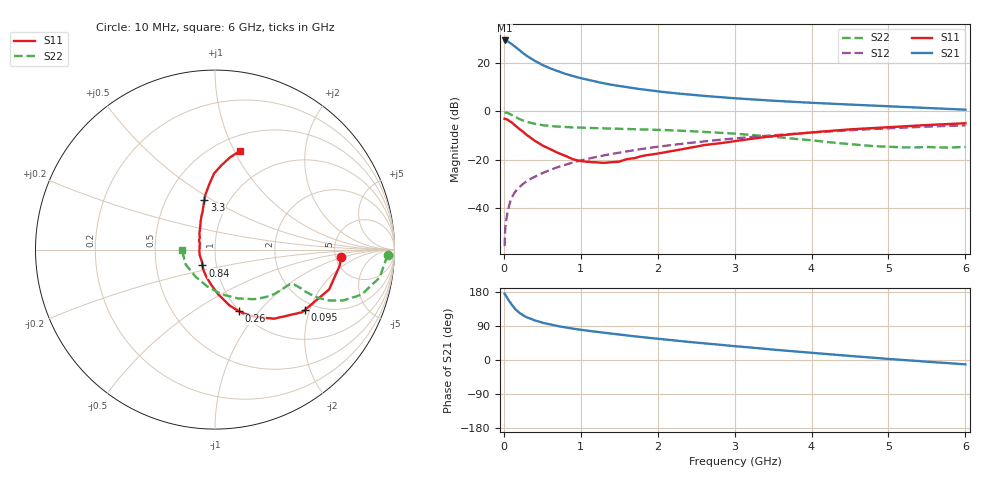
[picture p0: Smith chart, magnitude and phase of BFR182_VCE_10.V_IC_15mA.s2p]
! Infineon Technologies  Discrete & RF Semiconductors
! BFR182
! VCE =  10. V,  IC =  15 mA
! Common Emitter S-Parameters:  Nov 2015
# GHz  S  MA  R  50
!  f  S11  S21  S12  S22
! GHz  MAG  ANG  MAG  ANG  MAG  ANG  MAG  ANG
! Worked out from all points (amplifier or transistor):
!   210 points, 10 MHz to 6 GHz, reference 50 ohm
!   highest |S21| = 29.5 dB at 10 MHz (marker M1)
!   |S21| within 3 dB of that: start of sweep to 162.9 MHz
!   unconditionally stable (mu >= 1): 745.4 MHz to 2.806 GHz
!   at 185 MHz: K = 0.60, MSG = 28.9 dB, |S12| = -32.0 dB
!   at 1.52 GHz: K = 1.04, MAG = 12.4 dB, |S12| = -17.0 dB
!   at 6 GHz: K = 0.90, MSG = 3.3 dB, |S12| = -5.8 dB
!   S11 on the Smith chart (normalised r, x): 10 MHz: 5.60, -0.96; 95 MHz: 1.76, -1.85; 260 MHz: 0.99, -0.79; 840 MHz: 0.86, -0.15; 3.3 GHz: 0.77, +0.46; 6 GHz: 0.65, +1.06
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0.01  0.7044 -3.5  29.72 175.1  0.0016 79.2  0.9624 -1.8
0.02  0.7005 -7.3  29.32 171.6  0.004 82.6  0.9513 -3.9
0.05  0.6737 -19.2  28.5 161.5  0.0083 81.9  0.9309 -9.6
0.095  0.603 -33.9  25.56 148.2  0.0152 74.5  0.8611 -16.3
0.1  0.5979 -35.7  25.33 146.5  0.016 74.1  0.8541 -17.1
0.15  0.5068 -49.4  21.86 133.6  0.0218 70.9  0.7695 -21.6
0.2  0.4354 -59.3  18.85 124.7  0.0267 68.9  0.6986 -24.0
0.26  0.3676 -68.9  15.79 116.8  0.0323 68.1  0.6385 -25.0
0.3  0.3224 -75.3  14.16 112.4  0.0358 68.6  0.6071 -25.2
0.4  0.2481 -86.2  11.28 104.6  0.0439 68.9  0.5522 -24.9
0.5  0.1975 -96.1  9.238 98.3  0.0522 70.2  0.5182 -24.2
0.6  0.165 -105.6  7.862 93.6  0.061 70.5  0.4994 -24.0
0.7  0.139 -116.0  6.828 89.5  0.0698 70.6  0.4848 -23.9
0.84  0.1124 -128.3  5.763 84.6  0.0819 70.3  0.4714 -24.1
1.02  0.0926 -150.8  4.818 79.1  0.0976 70.1  0.4592 -25.0
1.4  0.0888 166.7  3.576 69.5  0.1311 68.1  0.4429 -28.4
2.02  0.1354 128.6  2.589 55.7  0.1869 63.3  0.4155 -36.2
3.1  0.2544 104.6  1.834 34.9  0.2845 52.7  0.3358 -55.0
3.3  0.2811 102.2  1.748 31.3  0.3023 50.6  0.3167 -59.7
4.1  0.3782 94.0  1.485 17.3  0.3729 41.8  0.2418 -84.7
5.1  0.4813 84.5  1.264 1.4  0.4547 30.0  0.1819 -131.1
6  0.5687 75.6  1.088 -11.5  0.5137 18.2  0.1836 -178.6
